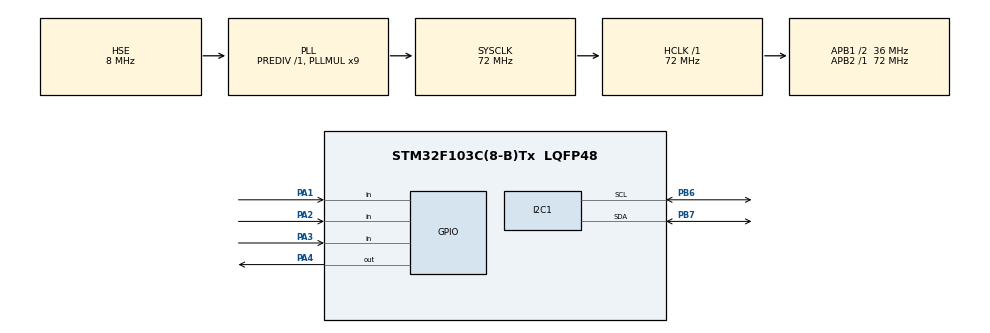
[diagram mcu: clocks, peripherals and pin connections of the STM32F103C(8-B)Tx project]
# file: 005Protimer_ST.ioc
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Mcu.Family=STM32F1
Mcu.Name=STM32F103C(8-B)Tx
Mcu.Package=LQFP48
NVIC.PriorityGroup=NVIC_PRIORITYGROUP_4
PA1.Signal=GPIO_Input
PA13.Mode=Serial_Wire
PA13.Signal=SYS_JTMS-SWDIO
PA14.Mode=Serial_Wire
PA14.Signal=SYS_JTCK-SWCLK
PA2.Signal=GPIO_Input
PA3.Signal=GPIO_Input
PA4.Signal=GPIO_Output
PB6.Mode=I2C
PB6.Signal=I2C1_SCL
PB7.Mode=I2C
PB7.Signal=I2C1_SDA
PD0-OSC_IN.Mode=HSE-External-Oscillator
PD0-OSC_IN.Signal=RCC_OSC_IN
PD1-OSC_OUT.Mode=HSE-External-Oscillator
PD1-OSC_OUT.Signal=RCC_OSC_OUT
ProjectManager.HeapSize=0x200
ProjectManager.StackSize=0x400
ProjectManager.TargetToolchain=MDK-ARM V5.32
RCC.AHBFreq_Value=72000000
RCC.APB1CLKDivider=RCC_HCLK_DIV2
RCC.APB1Freq_Value=36000000
RCC.APB1TimFreq_Value=72000000
RCC.APB2Freq_Value=72000000
RCC.APB2TimFreq_Value=72000000
RCC.HCLKFreq_Value=72000000
RCC.PLLMUL=RCC_PLL_MUL9
RCC.PLLSourceVirtual=RCC_PLLSOURCE_HSE
RCC.SYSCLKFreq_VALUE=72000000
RCC.SYSCLKSource=RCC_SYSCLKSOURCE_PLLCLK
RCC.USBFreq_Value=72000000
board=custom

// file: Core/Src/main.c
/* USER CODE BEGIN Header */
/**
  ******************************************************************************
  * @file           : main.c
  * @brief          : Main program body
  ******************************************************************************
  * @attention
  *
  * Copyright (c) 2024 STMicroelectronics.
  * All rights reserved.
  *
  * This software is licensed under terms that can be found in the LICENSE file
  * in the root directory of this software component.
  * If no LICENSE file comes with this software, it is provided AS-IS.
  *
  ******************************************************************************
  */
/* USER CODE END Header */
#include "main.h"

/* USER CODE BEGIN Includes */
#include "main_user.h"
#include "LCD_I2C_lib.h"
/* USER CODE END Includes */

I2C_HandleTypeDef hi2c1;

void SystemClock_Config(void);
static void MX_GPIO_Init(void);
static void MX_I2C1_Init(void);

/* USER CODE BEGIN 0 */
/* Main application abject */
CLCD_I2C_Name LCD1;
static protimer_t protimer;

//////////////////////button fuctions/////////////////////////////
static uint8_t process_button_pad_value(uint8_t btn_pad_value)
{
  static button_state_t btn_sm_state = NOT_PRESSED;
  static uint32_t curr_time = 0;

  switch(btn_sm_state){
    case NOT_PRESSED:{
      if(btn_pad_value){
        btn_sm_state = BOUNCE;
        curr_time = HAL_GetTick();
      }
      break;
    }
    case BOUNCE:{
      if(HAL_GetTick() - curr_time >= 50 ){
        //50ms has passed
        if(btn_pad_value){
          btn_sm_state = PRESSED;
          return btn_pad_value;
        }
        else
          btn_sm_state = NOT_PRESSED;
      }
      break;
    }
    case PRESSED:{
      if(!btn_pad_value){
        btn_sm_state = BOUNCE;
        curr_time = HAL_GetTick();
      }
			// Handle when button is holding
			else{
				if(HAL_GetTick() - curr_time >= 300 ){
					btn_sm_state = BOUNCE;
					curr_time = HAL_GetTick();
				}
			}
      break;
    }

  }

  return 0;
}
static void protimer_state_table_init(protimer_t *const mobj){
	static e_handler_t protimer_state_table[MAX_STATES][MAX_SIGNALS] = {
		[IDLE]	  	  = {&IDLE_Inc_time,NULL,&IDLE_Time_tick,&IDLE_Start_pause,NULL,&IDLE_Entry,&IDLE_Exit},
    [TIME_SET] 	  = {&TIME_SET_Inc_time,&TIME_SET_Dec_time,NULL,&TIME_SET_Start_pause,&TIME_SET_Abrt,&TIME_SET_Entry,&TIME_SET_Exit},
    [COUNTDOWN] 	= {NULL,NULL,&COUNTDOWN_Time_tick,&COUNTDOWN_Start_pause,&COUNTDOWN_Abrt,NULL,COUNTDOWN_Exit},
    [PAUSE] 		  = {&PAUSE_Inc_time,&PAUSE_Dec_time,NULL,&PAUSE_Start_pause,&PAUSE_Abrt,&PAUSE_Entry,&PAUSE_Exit},
    [STAT] 		    = {&STAT_Inc_time,&STAT_Dec_time,&STAT_Time_tick,NULL,NULL,&STAT_Entry,STAT_Exit}
	};
	mobj->state_table = (uintptr_t*)&protimer_state_table[0][0];
}

static void protimer_event_dispatcher(protimer_t *const mobj,event_t const *const e){
	event_status_t status;
	protimer_state_t source, taget;
	e_handler_t ehandler;
	source = mobj -> active_state;

	ehandler = (e_handler_t)mobj->state_table[mobj->active_state * MAX_SIGNALS + e->sig];
	if(ehandler)
	status = (*ehandler)(mobj,e);
	if(status == EVENT_TRANSITION){
		taget = mobj -> active_state;
		event_t ee;
	// 1. run the exit action for the source state
		ee.sig = EXIT;
		ehandler = (e_handler_t)mobj->state_table[source * MAX_SIGNALS + EXIT];
		if(ehandler)
			(*ehandler)(mobj,&ee);
		// 2. run the entry action for the taget state
		ee.sig = ENTRY;
		ehandler = (e_handler_t)mobj->state_table[taget * MAX_SIGNALS + ENTRY];
		if(ehandler)
			(*ehandler)(mobj,&ee);
	}
}

/* USER CODE END 0 */

int main(void)
{

  /* MCU Configuration--------------------------------------------------------*/

  /* Reset of all peripherals, Initializes the Flash interface and the Systick. */
  HAL_Init();

  /* Configure the system clock */
  SystemClock_Config();

  /* Initialize all configured peripherals */
  MX_GPIO_Init();
  MX_I2C1_Init();
  /* USER CODE BEGIN 2 */
	CLCD_I2C_Init(&LCD1,&hi2c1,0x4e,20,4);
	protimer_state_table_init(&protimer);
	protimer_init(&protimer);
  /* USER CODE END 2 */

  /* Infinite loop */
  while (1)
  {

    /* USER CODE BEGIN 3 */
		uint8_t b1,b2,b3,btn_pad_value;
		protimer_user_event_t ue;
		protimer_tick_event_t te;
		static uint32_t current_time = 0;
		//1. read the button pad status

		b1 = HAL_GPIO_ReadPin(GPIOA,GPIO_PIN_1);
		b2 = HAL_GPIO_ReadPin(GPIOA,GPIO_PIN_2);
		b3 = HAL_GPIO_ReadPin(GPIOA,GPIO_PIN_3);

		btn_pad_value = (b1<<2)|(b2<<1)|b3;
		// software button de-bouncing
		btn_pad_value = process_button_pad_value(btn_pad_value);
		//2. make an event (user event)
		if(btn_pad_value){
			if(btn_pad_value == BTN_PAD_VALUE_INC_TIME){
				ue.super.sig = INC_TIME;
			}else if(btn_pad_value == BTN_PAD_VALUE_DEC_TIME){
				ue.super.sig = DEC_TIME;
			}else if(btn_pad_value == BTN_PAD_VALUE_SP){
				ue.super.sig = START_PAUSE;
			}else if(btn_pad_value == BTN_PAD_VALUE_ABRT){
				ue.super.sig = ABRT;
			}
			//3. send it to event dispatcher (user event)
			protimer_event_dispatcher(&protimer,&ue.super);
		}

		//4. dispatch the time tick event for every 100ms
		if(HAL_GetTick()-current_time >=100){
			// 100ms has passed
			current_time = HAL_GetTick();
			te.super.sig = TIME_TICK;
			++te.ss;
			if(te.ss > 10) te.ss = 1;
			protimer_event_dispatcher(&protimer,&te.super);

  }
  }
  /* USER CODE END 3 */
}

void SystemClock_Config(void)
{
  RCC_OscInitTypeDef RCC_OscInitStruct = {0};
  RCC_ClkInitTypeDef RCC_ClkInitStruct = {0};

  /** Initializes the RCC Oscillators according to the specified parameters
  * in the RCC_OscInitTypeDef structure.
  */
  RCC_OscInitStruct.OscillatorType = RCC_OSCILLATORTYPE_HSE;
  RCC_OscInitStruct.HSEState = RCC_HSE_ON;
  RCC_OscInitStruct.HSEPredivValue = RCC_HSE_PREDIV_DIV1;
  RCC_OscInitStruct.HSIState = RCC_HSI_ON;
  RCC_OscInitStruct.PLL.PLLState = RCC_PLL_ON;
  RCC_OscInitStruct.PLL.PLLSource = RCC_PLLSOURCE_HSE;
  RCC_OscInitStruct.PLL.PLLMUL = RCC_PLL_MUL9;
  if (HAL_RCC_OscConfig(&RCC_OscInitStruct) != HAL_OK)
  {
    Error_Handler();
  }

  /** Initializes the CPU, AHB and APB buses clocks
  */
  RCC_ClkInitStruct.ClockType = RCC_CLOCKTYPE_HCLK|RCC_CLOCKTYPE_SYSCLK
                              |RCC_CLOCKTYPE_PCLK1|RCC_CLOCKTYPE_PCLK2;
  RCC_ClkInitStruct.SYSCLKSource = RCC_SYSCLKSOURCE_PLLCLK;
  RCC_ClkInitStruct.AHBCLKDivider = RCC_SYSCLK_DIV1;
  RCC_ClkInitStruct.APB1CLKDivider = RCC_HCLK_DIV2;
  RCC_ClkInitStruct.APB2CLKDivider = RCC_HCLK_DIV1;

  if (HAL_RCC_ClockConfig(&RCC_ClkInitStruct, FLASH_LATENCY_2) != HAL_OK)
  {
    Error_Handler();
  }
}

static void MX_I2C1_Init(void)
{

  hi2c1.Instance = I2C1;
  hi2c1.Init.ClockSpeed = 100000;
  hi2c1.Init.DutyCycle = I2C_DUTYCYCLE_2;
  hi2c1.Init.OwnAddress1 = 0;
  hi2c1.Init.AddressingMode = I2C_ADDRESSINGMODE_7BIT;
  hi2c1.Init.DualAddressMode = I2C_DUALADDRESS_DISABLE;
  hi2c1.Init.OwnAddress2 = 0;
  hi2c1.Init.GeneralCallMode = I2C_GENERALCALL_DISABLE;
  hi2c1.Init.NoStretchMode = I2C_NOSTRETCH_DISABLE;
  if (HAL_I2C_Init(&hi2c1) != HAL_OK)
  {
    Error_Handler();
  }

}

static void MX_GPIO_Init(void)
{
  GPIO_InitTypeDef GPIO_InitStruct = {0};

  /* GPIO Ports Clock Enable */
  __HAL_RCC_GPIOD_CLK_ENABLE();
  __HAL_RCC_GPIOA_CLK_ENABLE();
  __HAL_RCC_GPIOB_CLK_ENABLE();

  /*Configure GPIO pin Output Level */
  HAL_GPIO_WritePin(GPIOA, GPIO_PIN_4, GPIO_PIN_RESET);

  /*Configure GPIO pins : PA1 PA2 PA3 */
  GPIO_InitStruct.Pin = GPIO_PIN_1|GPIO_PIN_2|GPIO_PIN_3;
  GPIO_InitStruct.Mode = GPIO_MODE_INPUT;
  GPIO_InitStruct.Pull = GPIO_NOPULL;
  HAL_GPIO_Init(GPIOA, &GPIO_InitStruct);

  /*Configure GPIO pin : PA4 */
  GPIO_InitStruct.Pin = GPIO_PIN_4;
  GPIO_InitStruct.Mode = GPIO_MODE_OUTPUT_PP;
  GPIO_InitStruct.Pull = GPIO_NOPULL;
  GPIO_InitStruct.Speed = GPIO_SPEED_FREQ_LOW;
  HAL_GPIO_Init(GPIOA, &GPIO_InitStruct);

}

void Error_Handler(void)
{
  __disable_irq();
  while (1)
  {
  }
}
